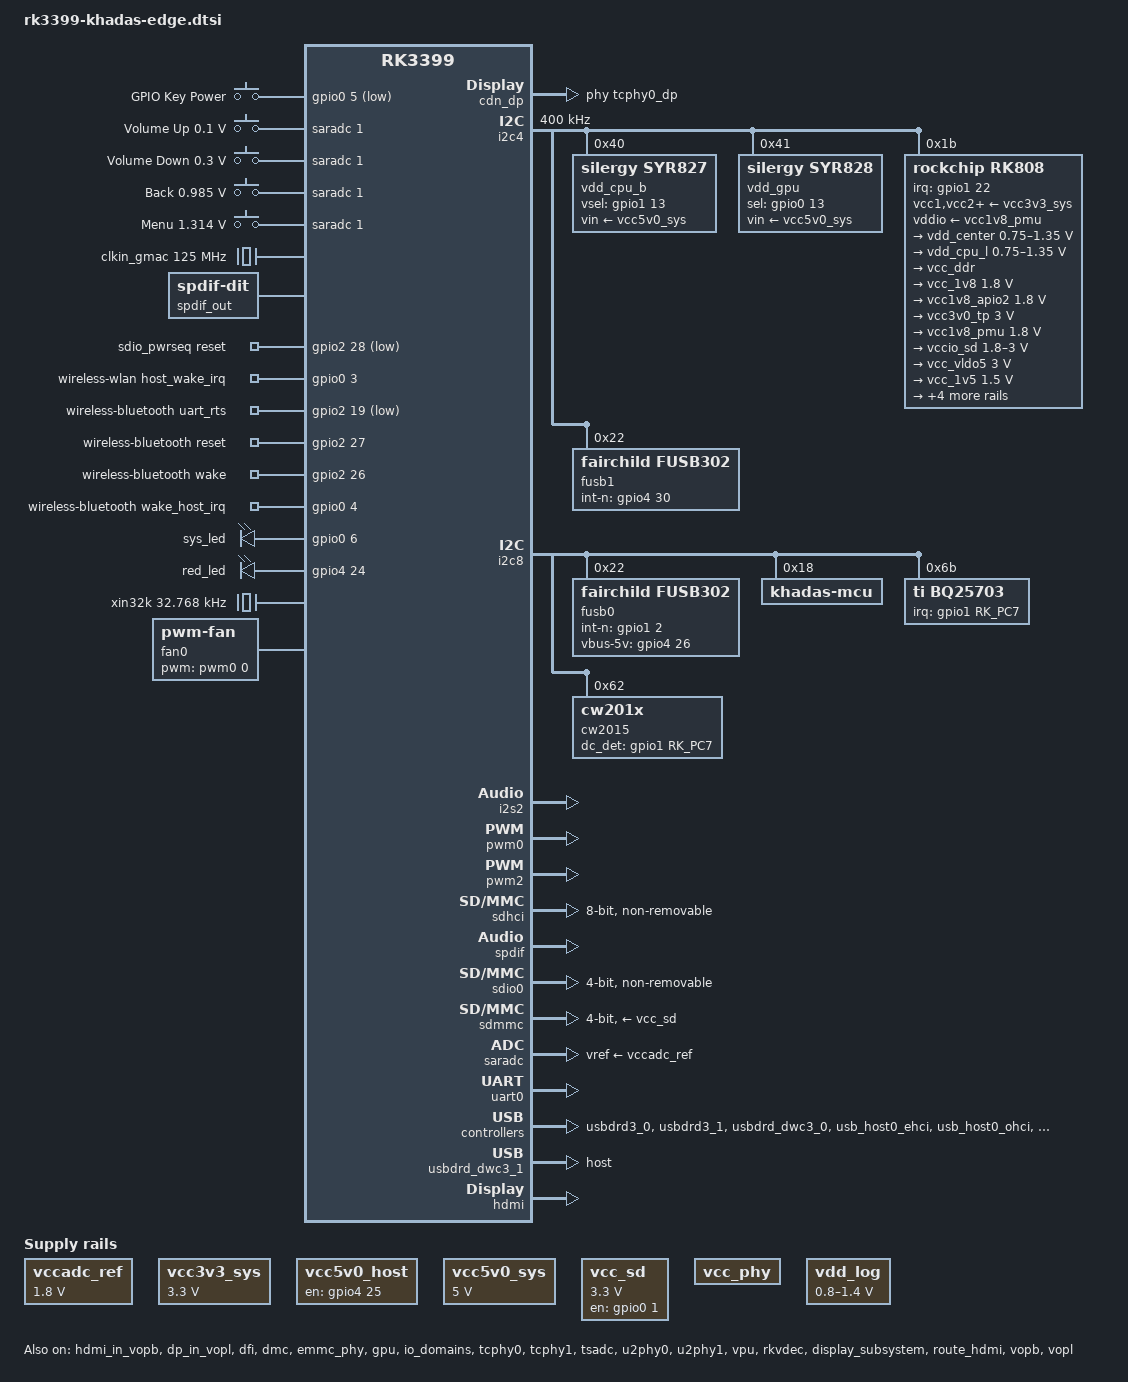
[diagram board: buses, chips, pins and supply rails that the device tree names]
/*
 * Copyright (c) 2018 Wesion Co., Ltd
 *
 * This file is dual-licensed: you can use it either under the terms
 * of the GPL or the X11 license, at your option. Note that this dual
 * licensing only applies to this file, and not this project as a
 * whole.
 *
 *  a) This file is free software; you can redistribute it and/or
 *     modify it under the terms of the GNU General Public License as
 *     published by the Free Software Foundation; either version 2 of the
 *     License, or (at your option) any later version.
 *
 *     This file is distributed in the hope that it will be useful,
 *     but WITHOUT ANY WARRANTY; without even the implied warranty of
 *     MERCHANTABILITY or FITNESS FOR A PARTICULAR PURPOSE.  See the
 *     GNU General Public License for more details.
 *
 * Or, alternatively,
 *
 *  b) Permission is hereby granted, free of charge, to any person
 *     obtaining a copy of this software and associated documentation
 *     files (the "Software"), to deal in the Software without
 *     restriction, including without limitation the rights to use,
 *     copy, modify, merge, publish, distribute, sublicense, and/or
 *     sell copies of the Software, and to permit persons to whom the
 *     Software is furnished to do so, subject to the following
 *     conditions:
 *
 *     The above copyright notice and this permission notice shall be
 *     included in all copies or substantial portions of the Software.
 *
 *     THE SOFTWARE IS PROVIDED "AS IS", WITHOUT WARRANTY OF ANY KIND,
 *     EXPRESS OR IMPLIED, INCLUDING BUT NOT LIMITED TO THE WARRANTIES
 *     OF MERCHANTABILITY, FITNESS FOR A PARTICULAR PURPOSE AND
 *     NONINFRINGEMENT. IN NO EVENT SHALL THE AUTHORS OR COPYRIGHT
 *     HOLDERS BE LIABLE FOR ANY CLAIM, DAMAGES OR OTHER LIABILITY,
 *     WHETHER IN AN ACTION OF CONTRACT, TORT OR OTHERWISE, ARISING
 *     FROM, OUT OF OR IN CONNECTION WITH THE SOFTWARE OR THE USE OR
 *     OTHER DEALINGS IN THE SOFTWARE.
 */

#include <dt-bindings/input/input.h>
#include "dt-bindings/pwm/pwm.h"
#include "rk3399.dtsi"
#include "rk3399-opp.dtsi"
#include "rk3399-linux.dtsi"

/ {
	compatible = "khadas,edge", "rockchip,rk3399";

	/* first 64k(0xff8c0000~0xff8d0000) for ddr and suspend */
	iram: sram@ff8d0000 {
		compatible = "mmio-sram";
		reg = <0x0 0xff8d0000 0x0 0x20000>; /* 128k */
	};

	fiq_debugger: fiq-debugger {
		compatible = "rockchip,fiq-debugger";
		rockchip,serial-id = <2>;
		rockchip,signal-irq = <182>;
		rockchip,wake-irq = <0>;
		rockchip,irq-mode-enable = <1>;  /* If enable uart uses irq instead of fiq */
		rockchip,baudrate = <1500000>;  /* Only 115200 and 1500000 */
		pinctrl-names = "default";
		pinctrl-0 = <&uart2c_xfer>;
	};

	gpio-keys {
		compatible = "gpio-keys";
		#address-cells = <1>;
		#size-cells = <0>;
		autorepeat;

		pinctrl-names = "default";
		pinctrl-0 = <&pwrbtn>;

		button@0 {
			gpios = <&gpio0 5 GPIO_ACTIVE_LOW>;
			linux,code = <KEY_POWER>;
			label = "GPIO Key Power";
			linux,input-type = <1>;
			gpio-key,wakeup = <1>;
			debounce-interval = <100>;
		};
	};

	vccadc_ref: vccadc-ref {
		compatible = "regulator-fixed";
		regulator-name = "vcc1v8_sys";
		regulator-always-on;
		regulator-boot-on;
		regulator-min-microvolt = <1800000>;
		regulator-max-microvolt = <1800000>;
	};

	adc-keys {
		compatible = "adc-keys";
		io-channels = <&saradc 1>;
		io-channel-names = "buttons";
		poll-interval = <100>;
		keyup-threshold-microvolt = <1800000>;

		button-up {
			label = "Volume Up";
			linux,code = <KEY_VOLUMEUP>;
			press-threshold-microvolt = <100000>;
		};

		button-down {
			label = "Volume Down";
			linux,code = <KEY_VOLUMEDOWN>;
			press-threshold-microvolt = <300000>;
		};

		back {
			label = "Back";
			linux,code = <KEY_BACK>;
			press-threshold-microvolt = <985000>;
		};

		menu {
			label = "Menu";
			linux,code = <KEY_MENU>;
			press-threshold-microvolt = <1314000>;
		};
	};

	clkin_gmac: external-gmac-clock {
		compatible = "fixed-clock";
		clock-frequency = <125000000>;
		clock-output-names = "clkin_gmac";
		#clock-cells = <0>;
	};

	dw_hdmi_audio: dw-hdmi-audio {
		status = "disabled";
		compatible = "rockchip,dw-hdmi-audio";
		#sound-dai-cells = <0>;
	};

	hdmi_sound: hdmi-sound {
		status = "disabled";
		compatible = "simple-audio-card";
		simple-audio-card,format = "i2s";
		simple-audio-card,mclk-fs = <256>;
		simple-audio-card,name = "rockchip,hdmi";

		simple-audio-card,cpu {
			sound-dai = <&i2s2>;
		};
		simple-audio-card,codec {
			sound-dai = <&hdmi>;
		};
	};

	hdmi_dp_sound: hdmi-dp-sound {
		status = "disabled";
		compatible = "rockchip,rk3399-hdmi-dp";
		rockchip,cpu = <&i2s2>;
		rockchip,codec = <&hdmi>, <&cdn_dp>;
	};

	spdif_sound: spdif-sound {
		status = "okay";
		compatible = "simple-audio-card";
		simple-audio-card,name = "SPDIF";
		simple-audio-card,cpu {
			sound-dai = <&spdif>;
		};
		simple-audio-card,codec {
			sound-dai = <&spdif_out>;
		};
	};

	spdif_out: spdif-out {
		status = "okay";
		compatible = "linux,spdif-dit";
		#sound-dai-cells = <0>;
	};

	sdio_pwrseq: sdio-pwrseq {
		compatible = "mmc-pwrseq-simple";
		clocks = <&rk808 1>;
		clock-names = "ext_clock";
		pinctrl-names = "default";
		pinctrl-0 = <&wifi_enable_h>;

		/*
		 * On the module itself this is one of these (depending
		 * on the actual card populated):
		 * - SDIO_RESET_L_WL_REG_ON
		 * - PDN (power down when low)
		 */
		reset-gpios = <&gpio2 28 GPIO_ACTIVE_LOW>; /* GPIO2_D4 */
	};

	wireless-wlan {
		compatible = "wlan-platdata";
		rockchip,grf = <&grf>;
		wifi_chip_type = "ap6354";
		sdio_vref = <1800>;
		WIFI,host_wake_irq = <&gpio0 3 GPIO_ACTIVE_HIGH>; /* GPIO0_a3 */
		status = "okay";
	};

	wireless-bluetooth {
		    compatible = "bluetooth-platdata";
		    //wifi-bt-power-toggle;
		    uart_rts_gpios = <&gpio2 19 GPIO_ACTIVE_LOW>; /* GPIO2_C3 */
		    pinctrl-names = "default", "rts_gpio";
		    pinctrl-0 = <&uart0_rts>;
		    pinctrl-1 = <&uart0_gpios>;
		    //BT,power_gpio  = <&gpio3 19 GPIO_ACTIVE_HIGH>; /* GPIOx_xx */
		    BT,reset_gpio    = <&gpio2 27 GPIO_ACTIVE_HIGH>; /* GPIO2_D3 */
		    BT,wake_gpio     = <&gpio2 26 GPIO_ACTIVE_HIGH>; /* GPIO2_D2 */
		    BT,wake_host_irq = <&gpio0 4 GPIO_ACTIVE_HIGH>; /* GPIO0_A4 */
		    status = "okay";
	};

	leds {
		compatible = "gpio-leds";
		pinctrl-names = "default";

		sys_led {
			gpios = <&gpio0 6 GPIO_ACTIVE_HIGH>;  /* GPIO0_A6 */
			label = "sys_led";
			linux,default-trigger = "heartbeat";
			default-state = "on";
		};
		red_led {
			gpios = <&gpio4 24 GPIO_ACTIVE_HIGH>;  /* GPIO4_D0 */
			label = "red_led";
			linux,default-trigger = "none";
			default-state = "off";
		};
	};

	vcc3v3_sys: vcc3v3-sys {
		compatible = "regulator-fixed";
		regulator-name = "vcc3v3_sys";
		regulator-always-on;
		regulator-boot-on;
		regulator-min-microvolt = <3300000>;
		regulator-max-microvolt = <3300000>;
	};

	vcc5v0_host: vcc5v0-host-regulator {
		compatible = "regulator-fixed";
		enable-active-high;
		gpio = <&gpio4 25 GPIO_ACTIVE_HIGH>;
		pinctrl-names = "default";
		pinctrl-0 = <&host_vbus_drv>;
		regulator-name = "vcc5v0_host";
		regulator-always-on;
	};

	vcc5v0_sys: vcc5v0-sys {
		compatible = "regulator-fixed";
		regulator-name = "vcc5v0_sys";
		regulator-always-on;
		regulator-boot-on;
		regulator-min-microvolt = <5000000>;
		regulator-max-microvolt = <5000000>;
	};

	vcc_sd: vcc-sd {
		compatible = "regulator-fixed";
		enable-active-high;
		regulator-boot-on;
		regulator-always-on;
		gpio = <&gpio0 1 GPIO_ACTIVE_HIGH>;
		pinctrl-names = "default";
		pinctrl-0 = <&vcc_sd_h>;
		regulator-name = "vcc_sd";
		regulator-min-microvolt = <3300000>;
		regulator-max-microvolt = <3300000>;
	};

	vcc_phy: vcc-phy-regulator {
		compatible = "regulator-fixed";
		regulator-name = "vcc_phy";
		regulator-always-on;
		regulator-boot-on;
	};

	vdd_log: vdd-log {
		compatible = "pwm-regulator";
		pwms = <&pwm2 0 25000 1>;
		regulator-name = "vdd_log";
		regulator-min-microvolt = <800000>;
		regulator-max-microvolt = <1400000>;
		regulator-always-on;
		regulator-boot-on;

		/* for rockchip boot on */
		rockchip,pwm_id= <2>;
		rockchip,pwm_voltage = <900000>;
	};

	xin32k: xin32k {
		compatible = "fixed-clock";
		clock-frequency = <32768>;
		clock-output-names = "xin32k";
		#clock-cells = <0>;
	};

	fan0: pwm-fan {
		compatible = "pwm-fan";
		status = "okay";
		pwms = <&pwm0 0 40000 0>; /* 25kHz */
		cooling-min-state = <0>;
		cooling-max-state = <3>;
		#cooling-cells = <2>;
		cooling-levels = <0 150 200 255>;
		trig_temp_level0 = <50>;
		trig_temp_level1 = <60>;
		trig_temp_level2 = <70>;
	};
};

&dmac_bus {
	iram = <&iram>;
	rockchip,force-iram;
};

&hdmi_in_vopl {
	status = "disabled";
};

&hdmi_in_vopb {
	status = "okay";
};

&cdn_dp {
	status = "okay";
	extcon = <&fusb0>;
	phys = <&tcphy0_dp>;
};

&dp_in_vopl {
	status = "okay";
};

&dp_in_vopb {
	status = "disabled";
};

&dfi {
	status = "okay";
};

&dmc {
   status = "okay";
   center-supply = <&vdd_center>;
   system-status-freq = <
       /*system status         freq(KHz)*/
       SYS_STATUS_NORMAL       856000
       SYS_STATUS_REBOOT       416000
       SYS_STATUS_SUSPEND      416000
       SYS_STATUS_VIDEO_1080P  416000
       SYS_STATUS_VIDEO_4K     856000
       SYS_STATUS_VIDEO_4K_10B 856000
       SYS_STATUS_PERFORMANCE  856000
       SYS_STATUS_BOOST        856000
       SYS_STATUS_DUALVIEW     856000
       SYS_STATUS_ISP          856000
   >;
   vop-bw-dmc-freq = <
	/* min_bw(MB/s) max_bw(MB/s) freq(KHz) */
        0       577      416000
        578     99999    856000
   >;
   auto-min-freq = <416000>;
   auto-freq-en = <1>;
};

&dmc_opp_table {
   compatible = "operating-points-v2";

   opp-200000000 {
       opp-hz = /bits/ 64 <200000000>;
       opp-microvolt = <900000>;
       status = "disabled";
   };
   opp-300000000 {
       opp-hz = /bits/ 64 <300000000>;
       opp-microvolt = <900000>;
       status = "disabled";
   };
   opp-400000000 {
       opp-hz = /bits/ 64 <400000000>;
       opp-microvolt = <900000>;
       status = "disabled";
   };
   opp-416000000 {
       opp-hz = /bits/ 64 <416000000>;
       opp-microvolt = <900000>;
   };
   opp-528000000 {
       opp-hz = /bits/ 64 <528000000>;
       opp-microvolt = <900000>;
       status = "disabled";
   };
   opp-600000000 {
       opp-hz = /bits/ 64 <600000000>;
       opp-microvolt = <900000>;
       status = "disabled";
   };
   opp-800000000 {
       opp-hz = /bits/ 64 <800000000>;
       opp-microvolt = <900000>;
       status = "disabled";
   };
   opp-856000000 {
       opp-hz = /bits/ 64 <856000000>;
       opp-microvolt = <900000>;
   };
   opp-928000000 {
       opp-hz = /bits/ 64 <928000000>;
       opp-microvolt = <900000>;
       status = "disabled";
   };
   opp-1056000000 {
       opp-hz = /bits/ 64 <1056000000>;
       opp-microvolt = <900000>;
       status = "disabled";
   };
};

&cpu_l0 {
	cpu-supply = <&vdd_cpu_l>;
};

&cpu_l1 {
	cpu-supply = <&vdd_cpu_l>;
};

&cpu_l2 {
	cpu-supply = <&vdd_cpu_l>;
};

&cpu_l3 {
	cpu-supply = <&vdd_cpu_l>;
};

&cpu_b0 {
	cpu-supply = <&vdd_cpu_b>;
};

&cpu_b1 {
	cpu-supply = <&vdd_cpu_b>;
};

&emmc_phy {
	status = "okay";
};

&gmac {
	phy-supply = <&vcc_phy>;
	phy-mode = "rgmii";
	clock_in_out = "input";
	snps,reset-gpio = <&gpio3 15 GPIO_ACTIVE_LOW>;
	snps,reset-active-low;
	snps,reset-delays-us = <0 20000 100000>;
	assigned-clocks = <&cru SCLK_RMII_SRC>;
	assigned-clock-parents = <&clkin_gmac>;
	wolirq-gpio = <&gpio1 1 GPIO_ACTIVE_LOW>;
	pinctrl-names = "default";
	pinctrl-0 = <&rgmii_pins>;
	tx_delay = <0x28>;
	rx_delay = <0x11>;
	status = "disabled";
};

&gpu {
	status = "okay";
	mali-supply = <&vdd_gpu>;
};

&i2c2 {
	status = "disabled";
	i2c-scl-rising-time-ns = <600>;
	i2c-scl-falling-time-ns = <20>;
};

&i2c4 {
	status = "okay";
	i2c-scl-rising-time-ns = <168>;
	i2c-scl-falling-time-ns = <4>;
	clock-frequency = <400000>;

	vdd_cpu_b: syr827@40 {
		compatible = "silergy,syr827";
		reg = <0x40>;
		vin-supply = <&vcc5v0_sys>;
		regulator-compatible = "fan53555-reg";
		pinctrl-names = "default";
		pinctrl-0 = <&vsel1_gpio>;
		vsel-gpios = <&gpio1 13 GPIO_ACTIVE_HIGH>; /* GPIO1_B5 */
		regulator-name = "vdd_cpu_b";
		regulator-min-microvolt = <712500>;
		regulator-max-microvolt = <1500000>;
		regulator-ramp-delay = <1000>;
		fcs,suspend-voltage-selector = <1>;
		regulator-always-on;
		regulator-boot-on;
		regulator-initial-state = <3>;
			regulator-state-mem {
			regulator-off-in-suspend;
		};
	};

	vdd_gpu: syr828@41 {
		compatible = "silergy,syr828";
		reg = <0x41>;
		vin-supply = <&vcc5v0_sys>;
		regulator-compatible = "fan53555-reg";
		pinctrl-names = "default";
		pinctrl-0 = <&vsel2_gpio>;
		sel-gpios = <&gpio0 13 GPIO_ACTIVE_HIGH>;/* GPIO0_B5 */
		regulator-name = "vdd_gpu";
		regulator-min-microvolt = <712500>;
		regulator-max-microvolt = <1500000>;
		regulator-ramp-delay = <1000>;
		fcs,suspend-voltage-selector = <1>;
		regulator-always-on;
		regulator-boot-on;
		regulator-initial-state = <3>;
			regulator-state-mem {
			regulator-off-in-suspend;
		};
	};

	rk808: pmic@1b {
		compatible = "rockchip,rk808";
		reg = <0x1b>;
		interrupt-parent = <&gpio1>;
		interrupts = <22 IRQ_TYPE_LEVEL_LOW>;
		pinctrl-names = "default";
		pinctrl-0 = <&pmic_int_l &pmic_dvs2>;
		rockchip,system-power-controller;
		wakeup-source;
		#clock-cells = <1>;
		clock-output-names = "rk808-clkout1", "rk808-clkout2";

		vcc1-supply = <&vcc3v3_sys>;
		vcc2-supply = <&vcc3v3_sys>;
		vcc3-supply = <&vcc3v3_sys>;
		vcc4-supply = <&vcc3v3_sys>;
		vcc6-supply = <&vcc3v3_sys>;
		vcc7-supply = <&vcc3v3_sys>;
		vcc8-supply = <&vcc3v3_sys>;
		vcc9-supply = <&vcc3v3_sys>;
		vcc10-supply = <&vcc3v3_sys>;
		vcc11-supply = <&vcc3v3_sys>;
		vcc12-supply = <&vcc3v3_sys>;
		vddio-supply = <&vcc1v8_pmu>;

		regulators {
			vdd_center: DCDC_REG1 {
				regulator-always-on;
				regulator-boot-on;
				regulator-min-microvolt = <750000>;
				regulator-max-microvolt = <1350000>;
				regulator-ramp-delay = <6001>;
				regulator-name = "vdd_center";
				regulator-state-mem {
					regulator-off-in-suspend;
				};
			};

			vdd_cpu_l: DCDC_REG2 {
				regulator-always-on;
				regulator-boot-on;
				regulator-min-microvolt = <750000>;
				regulator-max-microvolt = <1350000>;
				regulator-ramp-delay = <6001>;
				regulator-name = "vdd_cpu_l";
				regulator-state-mem {
					regulator-off-in-suspend;
				};
			};

			vcc_ddr: DCDC_REG3 {
				regulator-always-on;
				regulator-boot-on;
				regulator-name = "vcc_ddr";
				regulator-state-mem {
					regulator-on-in-suspend;
				};
			};

			vcc_1v8: DCDC_REG4 {
				regulator-always-on;
				regulator-boot-on;
				regulator-min-microvolt = <1800000>;
				regulator-max-microvolt = <1800000>;
				regulator-name = "vcc_1v8";
				regulator-state-mem {
					regulator-on-in-suspend;
					regulator-suspend-microvolt = <1800000>;
				};
			};

			vcc1v8_apio2: LDO_REG1 {
				regulator-always-on;
				regulator-boot-on;
				regulator-min-microvolt = <1800000>;
				regulator-max-microvolt = <1800000>;
				regulator-name = "vcc1v8_apio2";
				regulator-state-mem {
					regulator-off-in-suspend;
				};
			};

			vcc3v0_tp: LDO_REG2 {
				regulator-always-on;
				regulator-boot-on;
				regulator-min-microvolt = <3000000>;
				regulator-max-microvolt = <3000000>;
				regulator-name = "vcc3v0_tp";
				regulator-state-mem {
					regulator-off-in-suspend;
				};
			};

			vcc1v8_pmu: LDO_REG3 {
				regulator-always-on;
				regulator-boot-on;
				regulator-min-microvolt = <1800000>;
				regulator-max-microvolt = <1800000>;
				regulator-name = "vcc1v8_pmu";
				regulator-state-mem {
					regulator-on-in-suspend;
					regulator-suspend-microvolt = <1800000>;
				};
			};

			vccio_sd: LDO_REG4 {
				regulator-always-on;
				regulator-boot-on;
				regulator-min-microvolt = <1800000>;
				regulator-max-microvolt = <3000000>;
				regulator-name = "vccio_sd";
				regulator-state-mem {
					regulator-on-in-suspend;
					regulator-suspend-microvolt = <3000000>;
				};
			};

			vcc_vldo5: LDO_REG5 {
				regulator-always-on;
				regulator-boot-on;
				regulator-min-microvolt = <3000000>;
				regulator-max-microvolt = <3000000>;
				regulator-name = "vcc_vldo5";
				regulator-state-mem {
					regulator-off-in-suspend;
				};
			};

			vcc_1v5: LDO_REG6 {
				regulator-always-on;
				regulator-boot-on;
				regulator-min-microvolt = <1500000>;
				regulator-max-microvolt = <1500000>;
				regulator-name = "vcc_1v5";
				regulator-state-mem {
					regulator-on-in-suspend;
					regulator-suspend-microvolt = <1500000>;
				};
			};

			vcca1v8_codec: LDO_REG7 {
				regulator-always-on;
				regulator-boot-on;
				regulator-min-microvolt = <1800000>;
				regulator-max-microvolt = <1800000>;
				regulator-name = "vcca1v8_codec";
				regulator-state-mem {
					regulator-off-in-suspend;
				};
			};

			vcc_3v0: LDO_REG8 {
				regulator-always-on;
				regulator-boot-on;
				regulator-min-microvolt = <3000000>;
				regulator-max-microvolt = <3000000>;
				regulator-name = "vcc_3v0";
				regulator-state-mem {
					regulator-on-in-suspend;
					regulator-suspend-microvolt = <3000000>;
				};
			};

			vcc3v3_s3: SWITCH_REG1 {
				regulator-always-on;
				regulator-boot-on;
				regulator-name = "vcc3v3_s3";
				regulator-state-mem {
					regulator-off-in-suspend;
				};
			};

			vcc3v3_s0: SWITCH_REG2 {
				regulator-always-on;
				regulator-boot-on;
				regulator-name = "vcc3v3_s0";
				regulator-state-mem {
					//regulator-off-in-suspend;
					regulator-on-in-suspend;
				};
			};
		};
	};

	fusb1: fusb30x@22 {
		compatible = "fairchild,fusb302";
		reg = <0x22>;
		//fusb302,role="ROLE_MODE_UFP";
		pinctrl-names = "default";
		pinctrl-0 = <&fusb1_int>;
		int-n-gpios = <&gpio4 30 GPIO_ACTIVE_HIGH>;
		support-uboot-charge = <1>;
		port-num = <1>;
		status = "okay";
	};
};

&i2c8 {
	status = "okay";
	i2c-scl-rising-time-ns = <475>;
	i2c-scl-falling-time-ns = <26>;

	fusb0: fusb30x@22 {
		compatible = "fairchild,fusb302";
		reg = <0x22>;
		pinctrl-names = "default";
		pinctrl-0 = <&fusb0_int>;
		int-n-gpios = <&gpio1 2 GPIO_ACTIVE_HIGH>;
		vbus-5v-gpios = <&gpio4 26 GPIO_ACTIVE_HIGH>;
		status = "okay";
	};

	khadas-mcu {
		compatible = "khadas-mcu";
		reg = <0x18>;
	};

	bq25703:bq25703@6b {

		status = "okay";

		compatible = "ti,bq25703";
		reg = <0x6b>;
		extcon = <&fusb0>, <&fusb1>;
		interrupt-parent = <&gpio1>;
		interrupts = <RK_PC7 IRQ_TYPE_LEVEL_LOW>; /* GPIO1_C7 */
		pinctrl-names = "default";
		pinctrl-0 = <&charger_ok>;
		ti,charge-current = <1500000>;
		ti,max-charge-voltage = <8500000>;
		ti,max-input-voltage = <20000000>;
		ti,max-input-current = <6000000>;
		ti,input-current-sdp = <500000>;
		ti,input-current-dcp = <2000000>;
		ti,input-current-cdp = <2000000>;
		ti,input-current-dc = <2000000>;
		ti,minimum-sys-voltage = <7400000>;
		ti,otg-voltage = <5000000>;
		ti,otg-current = <500000>;
		ti,input-current = <500000>;
		pd-charge-only = <0>;

	};

	cw2015: cw2015@62 {
		status = "okay";
		compatible = "cw201x";
		reg = <0x62>;
		bat_config_info = <0x15 0x7F 0x6E 0x66 0x65 0x5C 0x5B 0x59
				0x58 0x57 0x57 0x54 0x53 0x51 0x4B 0x48
				0x40 0x33 0x2A 0x26 0x23 0x25 0x2A 0x34
				0x45 0x4F 0x0C 0xCD 0x44 0x68 0x67 0x68
				0x6E 0x6F 0x6C 0x68 0x3A 0x10 0x8A 0x01
				0x01 0x54 0x52 0x87 0x8F 0x91 0x94 0x52
				0x82 0x8C 0x92 0x96 0x82 0xFF 0xFF 0xCB
				0x2F 0x7D 0x64 0xA5 0xB5 0x13 0x58 0x09>;
		monitor_sec = <5>;
		virtual_power = <0>;
		divider_res1 = <200>;
		divider_res2 = <200>;
		dc_det_gpio = <&gpio1 RK_PC7 GPIO_ACTIVE_HIGH>;
	};

};

&i2s2 {
	#sound-dai-cells = <0>;
	status = "okay";
};

&i2s0 {
	status = "disabled";
	rockchip,i2s-broken-burst-len;
	rockchip,playback-channels = <8>;
	rockchip,capture-channels = <8>;
	#sound-dai-cells = <0>;
};


&io_domains {
	status = "okay";

	bt656-supply = <&vcc1v8_apio2>;		/* bt656_gpio2ab_ms */
	audio-supply = <&vcca1v8_codec>;	/* audio_gpio3d4a_ms */
	sdmmc-supply = <&vccio_sd>;		/* sdmmc_gpio4b_ms */
	gpio1830-supply = <&vcc_3v0>;		/* gpio1833_gpio4cd_ms */
};

&pmu_io_domains {
	status = "okay";
	pmu1830-supply = <&vcc_1v8>;
};

&pwm0 {
	status = "okay";
};

&pwm2 {
	status = "okay";
	pinctrl-names = "active";
	pinctrl-0 = <&pwm2_pin_pull_down>;
};

&sdhci {
	bus-width = <8>;
	mmc-hs400-1_8v;
	supports-emmc;
	non-removable;
	keep-power-in-suspend;
	mmc-hs400-enhanced-strobe;
	status = "okay";
};

&spdif {
	status = "okay";
	pinctrl-0 = <&spdif_bus_1>;
	#sound-dai-cells = <0>;
};

&sdio0 {
	clock-frequency = <200000000>;
	clock-freq-min-max = <200000 200000000>;
	supports-sdio;
	bus-width = <4>;
	disable-wp;
	cap-sd-highspeed;
	cap-sdio-irq;
	keep-power-in-suspend;
	mmc-pwrseq = <&sdio_pwrseq>;
	non-removable;
	num-slots = <1>;
	pinctrl-names = "default";
	pinctrl-0 = <&sdio0_bus4 &sdio0_cmd &sdio0_clk>;
	sd-uhs-sdr104;
	status = "okay";
};

&sdmmc {
	clock-frequency = <150000000>;
	clock-freq-min-max = <100000 150000000>;
	supports-sd;
	bus-width = <4>;
	cap-mmc-highspeed;
	cap-sd-highspeed;
	disable-wp;
	num-slots = <1>;
	//sd-uhs-sdr104;
	vmmc-supply = <&vcc_sd>;
	vqmmc-supply = <&vccio_sd>;
	pinctrl-names = "default";
	pinctrl-0 = <&sdmmc_clk &sdmmc_cmd &sdmmc_cd &sdmmc_bus4>;
	status = "okay";
};

&saradc {
	status = "okay";
};

&tcphy0 {
	extcon = <&fusb0>;
	status = "okay";
};

&tcphy1 {
	status = "okay";
};

&tsadc {
	/* tshut mode 0:CRU 1:GPIO */
	rockchip,hw-tshut-mode = <1>;
	/* tshut polarity 0:LOW 1:HIGH */
	rockchip,hw-tshut-polarity = <1>;
	status = "okay";
};

&u2phy0 {
	status = "okay";
	extcon = <&fusb0>;

	u2phy0_otg: otg-port {
		status = "okay";
	};

	u2phy0_host: host-port {
		phy-supply = <&vcc5v0_host>;
		status = "okay";
	};
};

&u2phy1 {
	status = "okay";

	u2phy1_otg: otg-port {
		status = "okay";
	};

	u2phy1_host: host-port {
		phy-supply = <&vcc5v0_host>;
		status = "okay";
	};
};

&uart0 {
    pinctrl-names = "default";
    pinctrl-0 = <&uart0_xfer &uart0_cts>;
    status = "okay";
};

&uart2 {
	status = "disabled";
};

&usbdrd3_0 {
	status = "okay";
	extcon = <&fusb0>;
};

&usbdrd3_1 {
	status = "okay";
};

&usbdrd_dwc3_0 {
	status = "okay";
};

&usbdrd_dwc3_1 {
	status = "okay";
	dr_mode = "host";
};

&usb_host0_ehci {
	status = "okay";
};

&usb_host0_ohci {
	status = "okay";
};

&usb_host1_ehci {
	status = "okay";
};

&usb_host1_ohci {
	status = "okay";
};

&saradc {
	vref-supply = <&vccadc_ref>;
};

&vpu {
	status = "okay";
	/* 0 means ion, 1 means drm */
	//allocator = <0>;
};

&rkvdec {
	status = "okay";
	/* 0 means ion, 1 means drm */
	//allocator = <0>;
};

&display_subsystem {
	status = "okay";
};

&route_edp {
	status = "disabled";
};

&edp {
	status = "disabled";
};

&hdmi {
	pinctrl-names = "default";
	pinctrl-0 = <&hdmi_i2c_xfer>, <&hdmi_cec>;
	#address-cells = <1>;
	#size-cells = <0>;
	#sound-dai-cells = <0>;
	status = "okay";
};

&route_hdmi {
	status = "okay";
	connect = <&vopb_out_hdmi>;
};


&vopb {
	status = "okay";
	assigned-clocks = <&cru DCLK_VOP0_DIV>;
	assigned-clock-parents = <&cru PLL_VPLL>;
};

&hdmi_dp_sound {
	status = "okay";
};

&vopb_mmu {
	status = "okay";
};

&vopl {
	status = "okay";
	assigned-clocks = <&cru DCLK_VOP1_DIV>;
	assigned-clock-parents = <&cru PLL_CPLL>;
};

&vopl_mmu {
	status = "okay";
};

&rockchip_suspend {
    status = "okay";
    rockchip,sleep-debug-en = <1>;
    rockchip,sleep-mode-config = <
        (0
        | RKPM_SLP_ARMPD
        | RKPM_SLP_PERILPPD
        | RKPM_SLP_DDR_RET
        | RKPM_SLP_PLLPD
        | RKPM_SLP_CENTER_PD
        | RKPM_SLP_AP_PWROFF
        )
        >;
    rockchip,wakeup-config = <
        (0
        | RKPM_GPIO_WKUP_EN
        | RKPM_PWM_WKUP_EN
        )
        >;
        rockchip,pwm-regulator-config = <
        (0
        | PWM2_REGULATOR_EN
        )
        >;
        rockchip,power-ctrl =
        <&gpio0 13 GPIO_ACTIVE_HIGH>,
        <&gpio1 13 GPIO_ACTIVE_HIGH>;
};

&reboot_mode {
	mode-reboot_test = <BOOT_REBOOT_TEST>;
};

&pinctrl {
	pmic {
		pmic_int_l: pmic-int-l {
			rockchip,pins =
				<1 22 RK_FUNC_GPIO &pcfg_pull_up>;
		};

		pmic_dvs2: pmic-dvs2 {
			rockchip,pins =
				<1 18 RK_FUNC_GPIO &pcfg_pull_down>;
		};
		vsel1_gpio: vsel1-gpio {
			rockchip,pins =
				<1 13 RK_FUNC_GPIO &pcfg_pull_down>;
		};
		vsel2_gpio: vsel2-gpio {
			rockchip,pins =
				 <0 13 RK_FUNC_GPIO &pcfg_pull_down>;
		};
	};

	usb2 {
		host_vbus_drv: host-vbus-drv {
			rockchip,pins =
				<4 25 RK_FUNC_GPIO &pcfg_pull_none>;
		};
	};

	vcc_sd {
		vcc_sd_h: vcc-sd-h {
			rockchip,pins =
				<0 1 RK_FUNC_GPIO &pcfg_pull_up>;
		};
	};

	fusb30x {
		fusb0_int: fusb0-int {
			rockchip,pins = <1 2 RK_FUNC_GPIO &pcfg_pull_up>;
		};
		fusb1_int: fusb1-int {
			rockchip,pins = <4 30 RK_FUNC_GPIO &pcfg_pull_up>; /* GPIO4_D6 */
		};
	};

	buttons {
		pwrbtn: pwrbtn {
			rockchip,pins = <0 5 RK_FUNC_GPIO &pcfg_pull_up>;
		};
	};

	lcd-panel {
		lcd_panel_reset: lcd-panel-reset {
			rockchip,pins = <4 30 RK_FUNC_GPIO &pcfg_pull_up>;
		};
	};

	sdio-pwrseq {
		wifi_enable_h: wifi-enable-h {
			rockchip,pins =
				<2 28 RK_FUNC_GPIO &pcfg_pull_none>; /* GPIO2_D4 */
		};
	};

	wireless-bluetooth {
		uart0_gpios: uart0-gpios {
			rockchip,pins =
				<2 27 RK_FUNC_GPIO &pcfg_pull_none>; /* GPIO2_D3 */
		};
	};

	charger {
		charger_ok: charge-ok {
			rockchip,pins = <1 RK_PC7 RK_FUNC_GPIO &pcfg_pull_up>; /* GPIO1_C7 */
		};
	};
};


&spi3 {
	status = "disabled";

	cs-gpios = <&gpio1 17 GPIO_ACTIVE_LOW>, <&gpio1 16 GPIO_ACTIVE_LOW>;
	max-freq = <48000000>;

};

